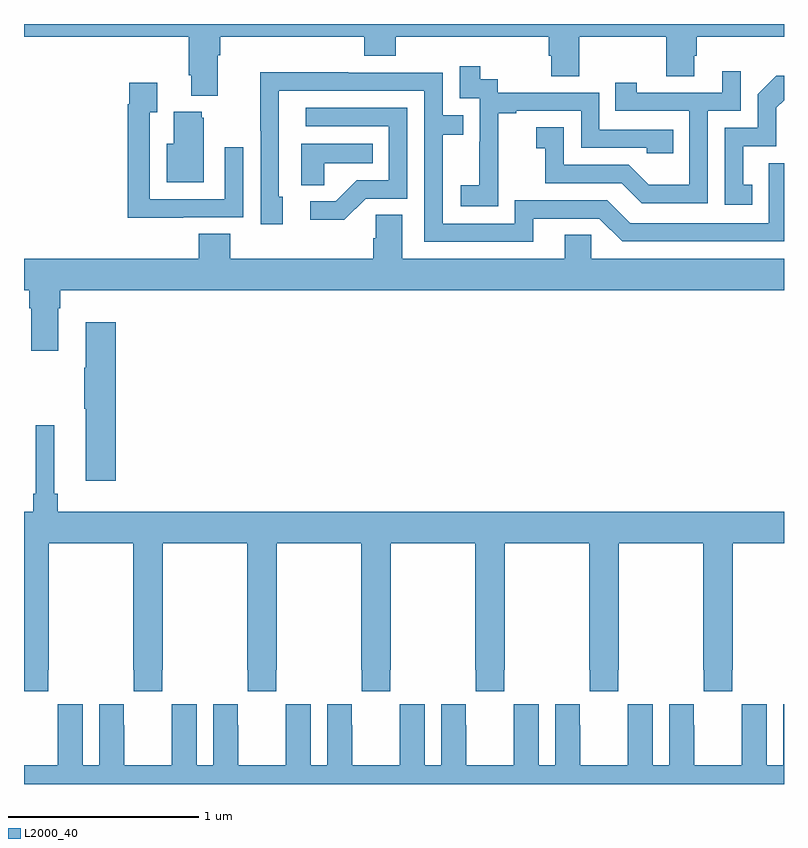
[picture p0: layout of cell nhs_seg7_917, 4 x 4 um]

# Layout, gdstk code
import gdstk
lib = gdstk.Library(unit=1e-6, precision=1e-09)
def P(c, l, *ps):  # polygons
    for p in ps: c.add(gdstk.Polygon(p, *l))
L2000_40 = (2000, 40)

nhs_seg7_917 = lib.new_cell('nhs_seg7_917')
P(nhs_seg7_917, L2000_40, [(180.019,1017.836),(180.032,1017.836),(180.032,1017.932),(180.791,1017.932),(180.791,1017.833),(180.956,1017.833),(180.956,1017.932),(181.763,1017.932),(181.763,1017.834),(181.775,1017.834),(181.775,1017.724),(181.923,1017.724),(181.923,1017.932),(182.38,1017.932),(182.38,1017.724),(182.527,1017.724),(182.527,1017.834),(182.54,1017.834),(182.54,1017.932),(183,1017.932),(183,1018),(179,1018),(179,1017.932),(179.867,1017.932),(179.867,1017.73),(179.879,1017.73),(179.879,1017.623),(180.019,1017.623)],
  [(181.497,1017.247),(181.496,1017.247),(181.496,1017.531),(181.591,1017.531),(181.591,1017.543),(181.932,1017.543),(181.932,1017.348),(182.277,1017.348),(182.277,1017.321),(182.417,1017.321),(182.417,1017.444),(182.028,1017.444),(182.028,1017.639),(181.494,1017.639),(181.494,1017.708),(181.402,1017.708),(181.402,1017.778),(181.293,1017.778),(181.293,1017.609),(181.398,1017.609),(181.398,1017.38),(181.397,1017.38),(181.397,1017.151),(181.299,1017.151),(181.299,1017.041),(181.497,1017.041)],
  [(182.598,1017.543),(182.772,1017.543),(182.772,1017.751),(182.675,1017.751),(182.675,1017.639),(182.224,1017.639),(182.224,1017.691),(182.113,1017.691),(182.113,1017.543),(182.502,1017.543),(182.502,1017.154),(182.288,1017.154),(182.184,1017.258),(181.842,1017.258),(181.842,1017.457),(181.695,1017.457),(181.695,1017.347),(181.744,1017.347),(181.744,1017.162),(182.147,1017.162),(182.252,1017.057),(182.598,1017.057)],
  [(181.681,1016.976),(182.028,1016.976),(182.148,1016.856),(183,1016.856),(183,1017.267),(182.919,1017.267),(182.919,1016.952),(182.19,1016.952),(182.07,1017.072),(181.584,1017.072),(181.584,1016.949),(181.203,1016.949),(181.203,1017.418),(181.313,1017.418),(181.313,1017.519),(181.203,1017.519),(181.203,1017.744),(180.707,1017.744),(180.707,1017.746),(180.244,1017.746),(180.244,1017.439),(180.246,1017.439),(180.246,1016.946),(180.361,1016.946),(180.361,1017.09),(180.342,1017.09),(180.342,1017.648),(181.107,1017.648),(181.107,1016.853),(181.681,1016.853)],
  [(182.834,1017.153),(182.785,1017.153),(182.785,1017.357),(182.958,1017.357),(182.958,1017.558),(183,1017.6),(183,1017.728),(182.96,1017.728),(182.862,1017.63),(182.862,1017.453),(182.688,1017.453),(182.688,1017.048),(182.834,1017.048)],
  [(179.837,1016.982),(180.153,1016.982),(180.153,1017.352),(180.057,1017.352),(180.057,1017.078),(179.661,1017.078),(179.661,1017.535),(179.701,1017.535),(179.701,1017.691),(179.553,1017.691),(179.553,1017.578),(179.545,1017.578),(179.545,1016.981),(179.837,1016.981)],
  [(180.798,1017.081),(181.017,1017.081),(181.017,1017.558),(180.483,1017.558),(180.483,1017.462),(180.921,1017.462),(180.921,1017.177),(180.752,1017.177),(180.641,1017.066),(180.507,1017.066),(180.507,1016.969),(180.685,1016.969)],
  [(179.947,1017.507),(179.936,1017.507),(179.936,1017.538),(179.789,1017.538),(179.789,1017.37),(179.75,1017.37),(179.75,1017.167),(179.947,1017.167)],
  [(180.579,1017.266),(180.836,1017.266),(180.836,1017.37),(180.458,1017.37),(180.458,1017.151),(180.579,1017.151)],
  [(179.179,1016.504),(179.192,1016.504),(179.192,1016.6),(183,1016.6),(183,1016.764),(181.986,1016.764),(181.986,1016.891),(181.847,1016.891),(181.847,1016.764),(180.991,1016.764),(180.991,1016.996),(180.852,1016.996),(180.852,1016.873),(180.839,1016.873),(180.839,1016.764),(180.086,1016.764),(180.086,1016.897),(179.921,1016.897),(179.921,1016.764),(179,1016.764),(179,1016.6),(179.027,1016.6),(179.027,1016.504),(179.039,1016.504),(179.039,1016.28),(179.179,1016.28)],
  [(179.483,1016.431),(179.324,1016.431),(179.324,1016.192),(179.317,1016.192),(179.317,1015.975),(179.324,1015.975),(179.324,1015.596),(179.483,1015.596)],
  [(179.127,1014.601),(179.13,1014.601),(179.13,1015.268),(179.575,1015.268),(179.575,1014.601),(179.577,1014.601),(179.577,1014.489),(179.727,1014.489),(179.727,1014.601),(179.73,1014.601),(179.73,1015.268),(180.175,1015.268),(180.175,1014.601),(180.177,1014.601),(180.177,1014.489),(180.327,1014.489),(180.327,1014.601),(180.33,1014.601),(180.33,1015.268),(180.775,1015.268),(180.775,1014.601),(180.777,1014.601),(180.777,1014.489),(180.927,1014.489),(180.927,1014.601),(180.93,1014.601),(180.93,1015.268),(181.375,1015.268),(181.375,1014.601),(181.377,1014.601),(181.377,1014.489),(181.527,1014.489),(181.527,1014.601),(181.53,1014.601),(181.53,1015.268),(181.975,1015.268),(181.975,1014.601),(181.977,1014.601),(181.977,1014.489),(182.127,1014.489),(182.127,1014.601),(182.13,1014.601),(182.13,1015.268),(182.575,1015.268),(182.575,1014.601),(182.577,1014.601),(182.577,1014.489),(182.727,1014.489),(182.727,1014.601),(182.73,1014.601),(182.73,1015.268),(183,1015.268),(183,1015.432),(179.177,1015.432),(179.177,1015.528),(179.158,1015.528),(179.158,1015.888),(179.061,1015.888),(179.061,1015.528),(179.048,1015.528),(179.048,1015.432),(179,1015.432),(179,1014.489),(179.127,1014.489)],
  [(180.378,1014.421),(180.378,1014.308),(180.377,1014.308),(180.377,1014.1),(180.127,1014.1),(180.127,1014.308),(180.126,1014.308),(180.126,1014.421),(179.996,1014.421),(179.996,1014.1),(179.908,1014.1),(179.908,1014.421),(179.778,1014.421),(179.778,1014.308),(179.777,1014.308),(179.777,1014.1),(179.527,1014.1),(179.527,1014.308),(179.526,1014.308),(179.526,1014.421),(179.396,1014.421),(179.396,1014.1),(179.308,1014.1),(179.308,1014.421),(179.178,1014.421),(179.178,1014.308),(179.177,1014.308),(179.177,1014.1),(179,1014.1),(179,1014),(183,1014),(183,1014.421),(182.996,1014.421),(182.996,1014.1),(182.908,1014.1),(182.908,1014.421),(182.778,1014.421),(182.778,1014.308),(182.777,1014.308),(182.777,1014.1),(182.527,1014.1),(182.527,1014.308),(182.526,1014.308),(182.526,1014.421),(182.396,1014.421),(182.396,1014.1),(182.308,1014.1),(182.308,1014.421),(182.178,1014.421),(182.178,1014.308),(182.177,1014.308),(182.177,1014.1),(181.927,1014.1),(181.927,1014.308),(181.926,1014.308),(181.926,1014.421),(181.796,1014.421),(181.796,1014.1),(181.708,1014.1),(181.708,1014.421),(181.578,1014.421),(181.578,1014.308),(181.577,1014.308),(181.577,1014.1),(181.327,1014.1),(181.327,1014.308),(181.326,1014.308),(181.326,1014.421),(181.196,1014.421),(181.196,1014.1),(181.108,1014.1),(181.108,1014.421),(180.978,1014.421),(180.978,1014.308),(180.977,1014.308),(180.977,1014.1),(180.727,1014.1),(180.727,1014.308),(180.726,1014.308),(180.726,1014.421),(180.596,1014.421),(180.596,1014.1),(180.508,1014.1),(180.508,1014.421)])

lib.write_gds('nhs_seg7_917.gds')
